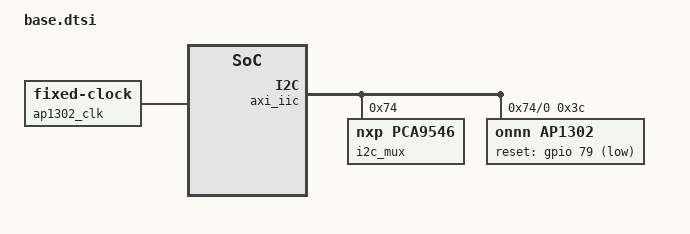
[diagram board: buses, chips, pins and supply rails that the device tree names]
// Copyright (C) 2021 Xilinx, Inc
//
// SPDX-License-Identifier: BSD-3-Clause

/*
 * dts file for Xilinx KV260 base overlay
 *
 */

/*For interrut connected to irq1 and mipi subsystem*/

/dts-v1/;
/plugin/;
/ {
	/* fpga clocks */
	fragment@1 {
		target = <&amba>;
		overlay1: __overlay__ {
			misc_clk_0: misc_clk_0 {
				#clock-cells = <0x0>;
				clock-frequency = <99999000>;
				compatible = "fixed-clock";
			};

			misc_clk_1: misc_clk_1 {
				#clock-cells = <0x0>;
				clock-frequency = <199998000>;
				compatible = "fixed-clock";
			};

			misc_clk_2: misc_clk_2 {
				#clock-cells = <0x0>;
				clock-frequency = <299997000>;
				compatible = "fixed-clock";
			};

			misc_clk_5: misc_clk_5 {
				#clock-cells = <0x0>;
				clock-frequency = <49999500>;
				compatible = "fixed-clock";
			};

			misc_clk_6: misc_clk_6 {
				#clock-cells = <0x0>;
				clock-frequency = <18432019>;
				compatible = "fixed-clock";
			};
		};
	};

	/* ar1335 isp mipi rx pipeline */
	fragment@2 {
		target = <&amba>;
		overlay2: __overlay__ {
			
			ap1302_clk: sensor_clk {
				#clock-cells = <0x0>;
				compatible = "fixed-clock";
				clock-frequency = <0x48000000>;
			};

			axi_iic: i2c@80030000 {
				#address-cells = <1>;
				#size-cells = <0>;
				clock-names = "s_axi_aclk";
				clocks = <&misc_clk_0>;
				compatible = "xlnx,axi-iic-2.1", "xlnx,xps-iic-2.00.a";
				interrupt-names = "iic2intc_irpt";
				interrupt-parent = <&gic>;
				interrupts = <0 104 4>;
				reg = <0x0 0x80030000 0x0 0x10000>;

				i2c_mux: i2c-mux@74 {
					compatible = "nxp,pca9546";
					#address-cells = <1>;
					#size-cells = <0>;
					reg = <0x74>;
					i2c@0 {
						#address-cells = <1>;
						#size-cells = <0>;
						reg = <0>;
						ap1302: isp@3c {
							compatible = "onnn,ap1302";
							reg = <0x3c>;
							#address-cells = <1>;
							#size-cells = <0>;
							reset-gpios = <&gpio 79 1>;
							clocks = <&ap1302_clk>;
						};
					};
					i2c@1 {
						#address-cells = <1>;
						#size-cells = <0>;
						reg = <0x1>;
					};					
					i2c@2 {
						#address-cells = <0x1>;
						#size-cells = <0x0>;
						reg = <0x2>;
						label = "RPICAM";
					};
				};
			};
		};
	};
};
